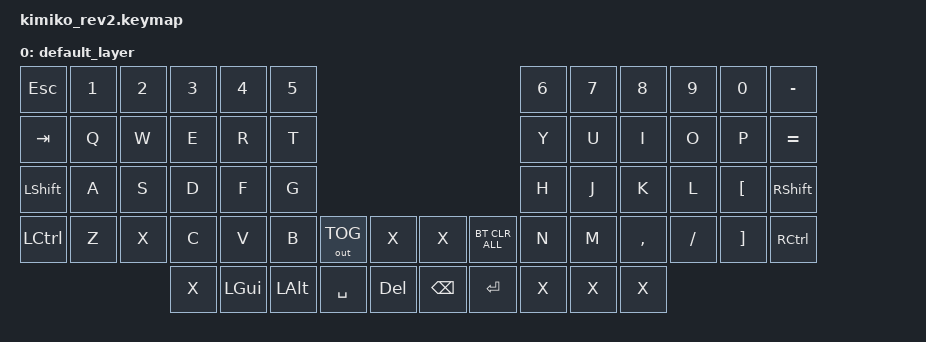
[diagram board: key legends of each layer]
#include <behaviors.dtsi>
#include <dt-bindings/zmk/keys.h>
#include <dt-bindings/zmk/bt.h>
#include <dt-bindings/zmk/outputs.h>

/ {
    keymap {
        compatible = "zmk,keymap";

        default_layer {
            bindings = <
    &kp ESC    &kp N1   &kp N2   &kp N3    &kp N4    &kp N5                                                        &kp N6    &kp N7    &kp N8    &kp N9    &kp N0    &kp MINUS
    &kp TAB    &kp Q    &kp W    &kp E     &kp R     &kp T                                                         &kp Y     &kp U     &kp I     &kp O     &kp P     &kp EQUAL
    &kp LSHIFT &kp A    &kp S    &kp D     &kp F     &kp G                                                         &kp H     &kp J     &kp K     &kp L     &kp LBKT  &kp RSHIFT
    &kp LCTRL  &kp Z    &kp X    &kp C     &kp V     &kp B    &out OUT_TOG &kp X      &kp X         &bt BT_CLR_ALL &kp N     &kp M     &kp COMMA &kp FSLH  &kp RBKT  &kp RCTRL
                                 &kp X     &kp LGUI  &kp LALT &kp  SPACE   &kp DEL    &kp BACKSPACE &kp RET        &kp X     &kp X     &kp X
            >;
        };
    };
};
